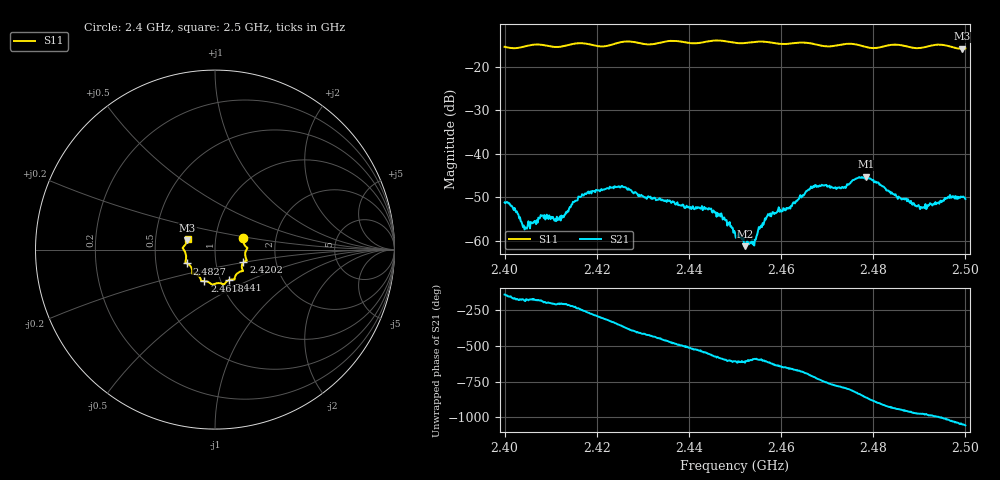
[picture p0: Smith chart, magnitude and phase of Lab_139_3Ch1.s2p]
# Hz S RI R 50
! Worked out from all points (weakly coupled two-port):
!   601 points, 2.4 GHz to 2.5 GHz, reference 50 ohm
!   highest |S21| = -45.26 dB at 2.4785 GHz (marker M1); lowest = -61.3 dB at 2.4522 GHz (marker M2)
!   lowest |S11| = -15.8 dB at 2.4993 GHz (marker M3), VSWR 1.39, Z = 36.5 + j3.84 ohm
!   |S11| at or under -10 dB: start of sweep to end of sweep
!   S12 and S22 are empty: the file has one direction only
!   S11 on the Smith chart (normalised r, x): 2.4 GHz: 1.36, +0.18; 2.4202 GHz: 1.36, -0.20; 2.441 GHz: 1.10, -0.39; 2.4618 GHz: 0.84, -0.30; 2.4827 GHz: 0.72, -0.11; 2.5 GHz: 0.73, +0.09
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2.4e9  0.1584 0.0628  -0.00213 -0.00175  0 0  0 0
2.4045e9  0.1719 0.0162  -0.00141 0.000157  0 0  0 0
2.408167e9  0.1792 0.00608  -0.00193 0.000261  0 0  0 0
2.412333e9  0.1684 -0.0319  -0.00179 0.000772  0 0  0 0
2.416667e9  0.1775 -0.0608  -0.00114 0.00303  0 0  0 0
2.420167e9  0.1584 -0.0712  0.00139 0.00353  0 0  0 0
2.425833e9  0.156 -0.1169  0.00409 -0.000523  0 0  0 0
2.433333e9  0.1115 -0.1511  0.000291 -0.00296  0 0  0 0
2.441e9  0.0785 -0.1697  -0.00225 -0.000616  0 0  0 0
2.446667e9  0.0487 -0.1951  -0.00139 0.00139  0 0  0 0
2.45e9  0.0283 -0.1873  -0.000473 0.00114  0 0  0 0
2.452167e9  0.0064 -0.1881  -0.000195 0.000842  0 0  0 0
2.454333e9  -0.00945 -0.194  -0.000659 0.000789  0 0  0 0
2.457167e9  -0.0203 -0.192  -0.000545 0.00195  0 0  0 0
2.461833e9  -0.0592 -0.1756  0.00105 0.00219  0 0  0 0
2.466667e9  -0.0787 -0.1683  0.00398 0.000701  0 0  0 0
2.4785e9  -0.1281 -0.1105  -0.00428 -0.00339  0 0  0 0
2.482667e9  -0.1563 -0.0772  -0.00377 0.00126  0 0  0 0
2.483333e9  -0.1606 -0.0753  -0.00338 0.00163  0 0  0 0
2.490667e9  -0.166 -0.0152  -0.000681 0.00228  0 0  0 0
2.499333e9  -0.1535 0.0511  0.00271 0.00163  0 0  0 0
2.5e9  -0.1519 0.0608  0.00275 0.00124  0 0  0 0
